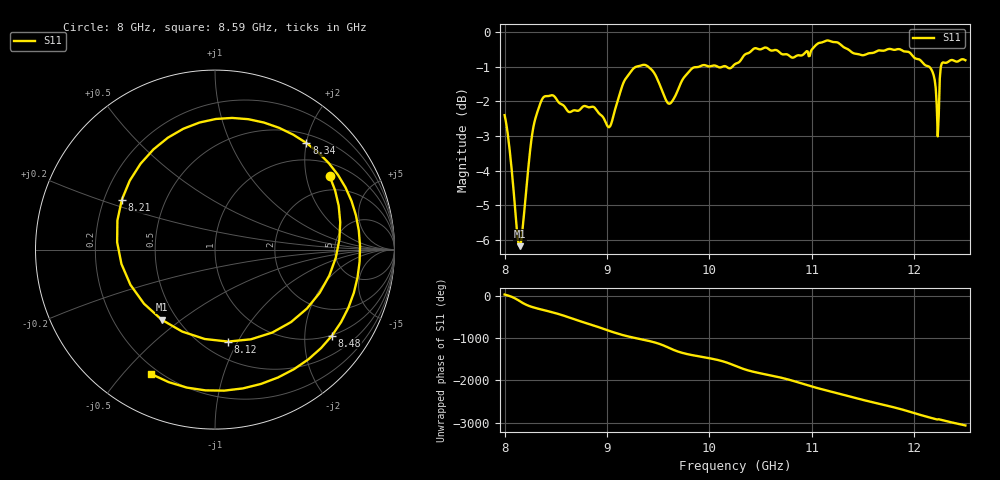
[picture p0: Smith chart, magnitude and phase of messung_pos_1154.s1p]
#  HZ  S  RI  R  50.00
! Rohde & Schwarz Vector Network Analyzer
! Rohde-Schwarz,ZNA43-4Port,1332450044101932,2.92
! Created: UTC 6/1/2026, 11:34:05 AM
! freq[Hz]  re:S11  im:S11
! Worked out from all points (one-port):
!   451 points, 8 GHz to 12.5 GHz, reference 50 ohm
!   lowest |S11| = -6.2 dB at 8.15 GHz (marker M1), VSWR 2.93, Z = 20.7 - j21.2 ohm
!   |S11| at or under -10 dB: nowhere
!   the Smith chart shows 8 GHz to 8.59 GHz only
!   S11 on the Smith chart (normalised r, x): 8 GHz: 1.42, +2.74; 8.12 GHz: 0.65, -0.91; 8.21 GHz: 0.27, +0.23; 8.34 GHz: 0.65, +2.00; 8.48 GHz: 0.99, -2.73; 8.59 GHz: 0.17, -0.60
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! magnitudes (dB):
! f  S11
! 8 GHz  -2.4
! 8.05 GHz  -3.4
! 8.12 GHz  -5.7
! 8.15 GHz  -6.2
! 8.21 GHz  -4.6
! 8.27 GHz  -2.9
! 8.34 GHz  -2.1
! 8.48 GHz  -1.8
! 8.57 GHz  -2.1
! 8.59 GHz  -2.2
! 8.87 GHz  -2.2
! 9.02 GHz  -2.7
! 9.13 GHz  -1.7
! 9.36 GHz  -0.9
! 9.6 GHz  -2.1
! 9.69 GHz  -1.7
! 9.84 GHz  -1.0
! 10.25 GHz  -0.9
! 10.45 GHz  -0.5
! 10.82 GHz  -0.7
! 11.15 GHz  -0.2
! 11.38 GHz  -0.6
! 11.94 GHz  -0.6
! 12.17 GHz  -1.1
! 12.22 GHz  -2.1
! 12.24 GHz  -2.4
! 12.28 GHz  -0.9
! 12.5 GHz  -0.8
